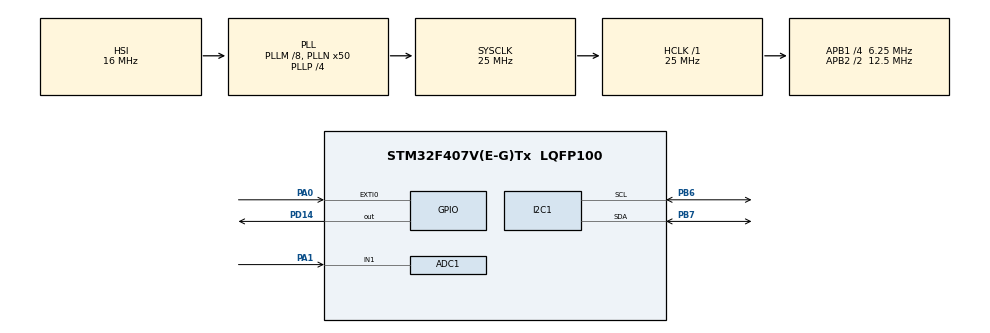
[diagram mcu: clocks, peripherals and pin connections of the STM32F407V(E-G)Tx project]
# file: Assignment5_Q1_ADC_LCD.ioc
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ADC1.Channel-1\#ChannelRegularConversion=ADC_CHANNEL_1
ADC1.ClockPrescaler=ADC_CLOCK_SYNC_PCLK_DIV4
ADC1.NbrOfConversionFlag=1
ADC1.Rank-1\#ChannelRegularConversion=1
ADC1.SamplingTime-1\#ChannelRegularConversion=ADC_SAMPLETIME_3CYCLES
ADC1.master=1
Mcu.Family=STM32F4
Mcu.Name=STM32F407V(E-G)Tx
Mcu.Package=LQFP100
NVIC.ADC_IRQn=true\:0\:0\:false\:false\:true\:true\:true\:true
NVIC.EXTI0_IRQn=true\:0\:0\:false\:false\:true\:true\:true\:true
NVIC.PriorityGroup=NVIC_PRIORITYGROUP_0
PA0-WKUP.GPIO_ModeDefaultEXTI=GPIO_MODE_IT_FALLING
PA0-WKUP.Signal=GPXTI0
PA1.Signal=ADCx_IN1
PB6.Mode=I2C
PB6.Signal=I2C1_SCL
PB7.Mode=I2C
PB7.Signal=I2C1_SDA
PD14.Signal=GPIO_Output
ProjectManager.HeapSize=0x200
ProjectManager.StackSize=0x400
ProjectManager.TargetToolchain=STM32CubeIDE
RCC.48MHZClocksFreq_Value=14285714.285714285
RCC.AHBFreq_Value=25000000
RCC.APB1CLKDivider=RCC_HCLK_DIV4
RCC.APB1Freq_Value=6250000
RCC.APB1TimFreq_Value=12500000
RCC.APB2CLKDivider=RCC_HCLK_DIV2
RCC.APB2Freq_Value=12500000
RCC.APB2TimFreq_Value=25000000
RCC.CortexFreq_Value=25000000
RCC.HCLKFreq_Value=25000000
RCC.HSE_VALUE=8000000
RCC.HSI_VALUE=16000000
RCC.LSE_VALUE=32768
RCC.PLLM=8
RCC.PLLN=50
RCC.PLLP=RCC_PLLP_DIV4
RCC.PLLQ=7
RCC.SYSCLKFreq_VALUE=25000000
RCC.SYSCLKSource=RCC_SYSCLKSOURCE_PLLCLK
RCC.VCOOutputFreq_Value=100000000
SH.ADCx_IN1.0=ADC1_IN1,IN1
board=STM32F407G-DISC1

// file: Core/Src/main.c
/* USER CODE BEGIN Header */
/**
  ******************************************************************************
  * @file           : main.c
  * @brief          : Main program body
  ******************************************************************************
  * @attention
  *
  * Copyright (c) 2026 STMicroelectronics.
  * All rights reserved.
  *
  * This software is licensed under terms that can be found in the LICENSE file
  * in the root directory of this software component.
  * If no LICENSE file comes with this software, it is provided AS-IS.
  *
  ******************************************************************************
  */
/* USER CODE END Header */
#include "main.h"

/* USER CODE BEGIN Includes */
#include"lcd.h"
#include<string.h>
#include<stdio.h>
/* USER CODE END Includes */

ADC_HandleTypeDef hadc1;

I2C_HandleTypeDef hi2c1;

/* USER CODE BEGIN PV */
volatile uint8_t sw_press;
/* USER CODE END PV */

void SystemClock_Config(void);
static void MX_GPIO_Init(void);
static void MX_ADC1_Init(void);
static void MX_I2C1_Init(void);

/* USER CODE BEGIN 0 */
void HAL_GPIO_EXTI_Callback (uint16_t GPIO_Pin)
{
	sw_press = 1;
}
/* USER CODE END 0 */

int main(void)
{

  /* MCU Configuration--------------------------------------------------------*/

  /* Reset of all peripherals, Initializes the Flash interface and the Systick. */
  HAL_Init();

  /* Configure the system clock */
  SystemClock_Config();

  /* Initialize all configured peripherals */
  MX_GPIO_Init();
  MX_ADC1_Init();
  MX_I2C1_Init();
  /* USER CODE BEGIN 2 */
  lcd_init();
  lcd_puts(LCD_LINE1, "ADC value");
  /* USER CODE END 2 */

  /* Infinite loop */
  /* USER CODE BEGIN WHILE */
  while (1)
  {
	  if(sw_press == 0)
		  HAL_GPIO_WritePin(GPIOD, GPIO_PIN_14, GPIO_PIN_SET);
	  if(sw_press == 1)
	  {
		  	  //lcd_clr();

		  	  HAL_GPIO_TogglePin(GPIOD, GPIO_PIN_14);

		  	  char str[32];
		  	  uint32_t result;
		  	  HAL_ADC_Start(&hadc1);
		  	  HAL_ADC_PollForConversion(&hadc1, HAL_MAX_DELAY);
		  	  result = HAL_ADC_GetValue(&hadc1);
		  	  HAL_ADC_Stop(&hadc1);
		  	  HAL_Delay(1000);
		  	  sprintf(str, "%01ld", result);
		  	  lcd_puts(LCD_LINE2, str);
		  	  sw_press = 0;
		  	  //HAL_GPIO_WritePin(GPIOD, GPIO_PIN_14, GPIO_PIN_SET);
	  }
    /* USER CODE END WHILE */

  }
}

void SystemClock_Config(void)
{
  RCC_OscInitTypeDef RCC_OscInitStruct = {0};
  RCC_ClkInitTypeDef RCC_ClkInitStruct = {0};

  /** Configure the main internal regulator output voltage
  */
  __HAL_RCC_PWR_CLK_ENABLE();
  __HAL_PWR_VOLTAGESCALING_CONFIG(PWR_REGULATOR_VOLTAGE_SCALE1);

  /** Initializes the RCC Oscillators according to the specified parameters
  * in the RCC_OscInitTypeDef structure.
  */
  RCC_OscInitStruct.OscillatorType = RCC_OSCILLATORTYPE_HSI;
  RCC_OscInitStruct.HSIState = RCC_HSI_ON;
  RCC_OscInitStruct.HSICalibrationValue = RCC_HSICALIBRATION_DEFAULT;
  RCC_OscInitStruct.PLL.PLLState = RCC_PLL_ON;
  RCC_OscInitStruct.PLL.PLLSource = RCC_PLLSOURCE_HSI;
  RCC_OscInitStruct.PLL.PLLM = 8;
  RCC_OscInitStruct.PLL.PLLN = 50;
  RCC_OscInitStruct.PLL.PLLP = RCC_PLLP_DIV4;
  RCC_OscInitStruct.PLL.PLLQ = 7;
  if (HAL_RCC_OscConfig(&RCC_OscInitStruct) != HAL_OK)
  {
    Error_Handler();
  }

  /** Initializes the CPU, AHB and APB buses clocks
  */
  RCC_ClkInitStruct.ClockType = RCC_CLOCKTYPE_HCLK|RCC_CLOCKTYPE_SYSCLK
                              |RCC_CLOCKTYPE_PCLK1|RCC_CLOCKTYPE_PCLK2;
  RCC_ClkInitStruct.SYSCLKSource = RCC_SYSCLKSOURCE_PLLCLK;
  RCC_ClkInitStruct.AHBCLKDivider = RCC_SYSCLK_DIV1;
  RCC_ClkInitStruct.APB1CLKDivider = RCC_HCLK_DIV4;
  RCC_ClkInitStruct.APB2CLKDivider = RCC_HCLK_DIV2;

  if (HAL_RCC_ClockConfig(&RCC_ClkInitStruct, FLASH_LATENCY_0) != HAL_OK)
  {
    Error_Handler();
  }
}

static void MX_ADC1_Init(void)
{

  ADC_ChannelConfTypeDef sConfig = {0};

  /** Configure the global features of the ADC (Clock, Resolution, Data Alignment and number of conversion)
  */
  hadc1.Instance = ADC1;
  hadc1.Init.ClockPrescaler = ADC_CLOCK_SYNC_PCLK_DIV4;
  hadc1.Init.Resolution = ADC_RESOLUTION_12B;
  hadc1.Init.ScanConvMode = DISABLE;
  hadc1.Init.ContinuousConvMode = DISABLE;
  hadc1.Init.DiscontinuousConvMode = DISABLE;
  hadc1.Init.ExternalTrigConvEdge = ADC_EXTERNALTRIGCONVEDGE_NONE;
  hadc1.Init.ExternalTrigConv = ADC_SOFTWARE_START;
  hadc1.Init.DataAlign = ADC_DATAALIGN_RIGHT;
  hadc1.Init.NbrOfConversion = 1;
  hadc1.Init.DMAContinuousRequests = DISABLE;
  hadc1.Init.EOCSelection = ADC_EOC_SINGLE_CONV;
  if (HAL_ADC_Init(&hadc1) != HAL_OK)
  {
    Error_Handler();
  }

  /** Configure for the selected ADC regular channel its corresponding rank in the sequencer and its sample time.
  */
  sConfig.Channel = ADC_CHANNEL_1;
  sConfig.Rank = 1;
  sConfig.SamplingTime = ADC_SAMPLETIME_3CYCLES;
  if (HAL_ADC_ConfigChannel(&hadc1, &sConfig) != HAL_OK)
  {
    Error_Handler();
  }

}

static void MX_I2C1_Init(void)
{

  hi2c1.Instance = I2C1;
  hi2c1.Init.ClockSpeed = 100000;
  hi2c1.Init.DutyCycle = I2C_DUTYCYCLE_2;
  hi2c1.Init.OwnAddress1 = 0;
  hi2c1.Init.AddressingMode = I2C_ADDRESSINGMODE_7BIT;
  hi2c1.Init.DualAddressMode = I2C_DUALADDRESS_DISABLE;
  hi2c1.Init.OwnAddress2 = 0;
  hi2c1.Init.GeneralCallMode = I2C_GENERALCALL_DISABLE;
  hi2c1.Init.NoStretchMode = I2C_NOSTRETCH_DISABLE;
  if (HAL_I2C_Init(&hi2c1) != HAL_OK)
  {
    Error_Handler();
  }

}

static void MX_GPIO_Init(void)
{
  GPIO_InitTypeDef GPIO_InitStruct = {0};

  /* GPIO Ports Clock Enable */
  __HAL_RCC_GPIOA_CLK_ENABLE();
  __HAL_RCC_GPIOD_CLK_ENABLE();
  __HAL_RCC_GPIOB_CLK_ENABLE();

  /*Configure GPIO pin Output Level */
  HAL_GPIO_WritePin(GPIOD, GPIO_PIN_14, GPIO_PIN_RESET);

  /*Configure GPIO pin : PA0 */
  GPIO_InitStruct.Pin = GPIO_PIN_0;
  GPIO_InitStruct.Mode = GPIO_MODE_IT_FALLING;
  GPIO_InitStruct.Pull = GPIO_NOPULL;
  HAL_GPIO_Init(GPIOA, &GPIO_InitStruct);

  /*Configure GPIO pin : PD14 */
  GPIO_InitStruct.Pin = GPIO_PIN_14;
  GPIO_InitStruct.Mode = GPIO_MODE_OUTPUT_PP;
  GPIO_InitStruct.Pull = GPIO_NOPULL;
  GPIO_InitStruct.Speed = GPIO_SPEED_FREQ_LOW;
  HAL_GPIO_Init(GPIOD, &GPIO_InitStruct);

  /* EXTI interrupt init*/
  HAL_NVIC_SetPriority(EXTI0_IRQn, 0, 0);
  HAL_NVIC_EnableIRQ(EXTI0_IRQn);

}

void Error_Handler(void)
{
  __disable_irq();
  while (1)
  {
  }
}
